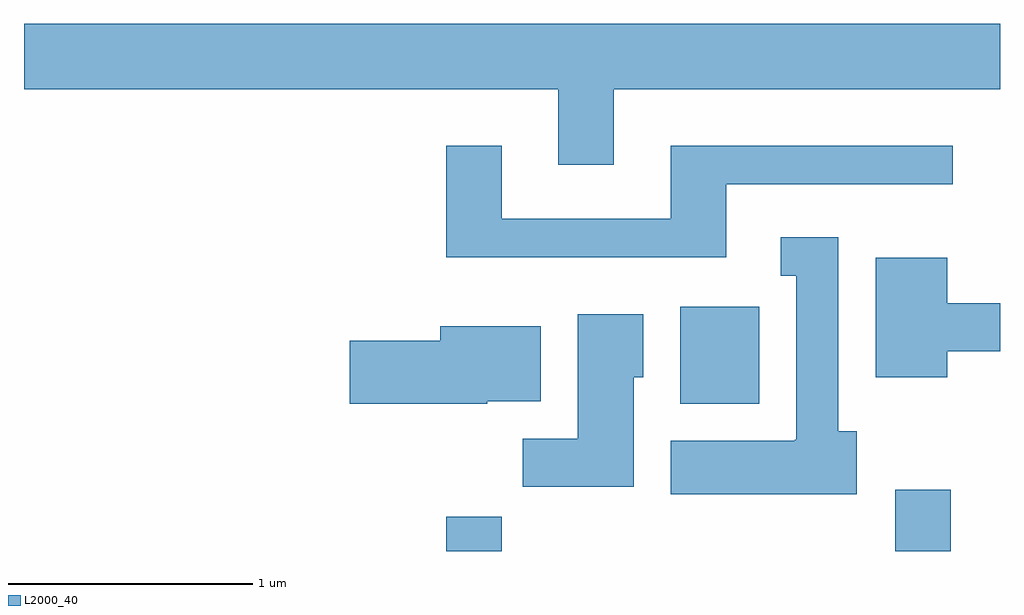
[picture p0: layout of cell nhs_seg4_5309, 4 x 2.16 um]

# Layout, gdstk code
import gdstk
lib = gdstk.Library(unit=1e-6, precision=1e-09)
def R(c, l, rs):  # rectangles x0, y0, x1, y1
    for r in rs: c.add(gdstk.rectangle(r[:2], r[2:], *l))
def P(c, l, *ps):  # polygons
    for p in ps: c.add(gdstk.Polygon(p, *l))
L2000_40 = (2000, 40)

nhs_seg4_5309 = lib.new_cell('nhs_seg4_5309')
R(nhs_seg4_5309, L2000_40, [(343.341,1263.982,343.569,1264.124), (345.181,1263.982,345.409,1264.234), (344.301,1264.586,344.624,1264.984)])
P(nhs_seg4_5309, L2000_40, [(344.029,1265.876),(345.611,1265.876),(345.611,1266.144),(341.611,1266.144),(341.611,1265.876),(343.801,1265.876),(343.801,1265.566),(344.029,1265.566)],
  [(344.489,1265.486),(345.418,1265.486),(345.418,1265.644),(344.261,1265.644),(344.261,1265.344),(343.569,1265.344),(343.569,1265.644),(343.341,1265.644),(343.341,1265.186),(344.489,1265.186)],
  [(345.024,1264.474),(344.949,1264.474),(344.949,1265.269),(344.713,1265.269),(344.713,1265.111),(344.776,1265.111),(344.776,1264.44),(344.77,1264.44),(344.77,1264.434),(344.261,1264.434),(344.261,1264.216),(345.024,1264.216)],
  [(345.394,1264.801),(345.611,1264.801),(345.611,1264.999),(345.394,1264.999),(345.394,1265.184),(345.101,1265.184),(345.101,1264.696),(345.394,1264.696)],
  [(344.109,1264.696),(344.149,1264.696),(344.149,1264.954),(343.881,1264.954),(343.881,1264.444),(343.656,1264.444),(343.656,1264.246),(344.109,1264.246)],
  [(343.51,1264.596),(343.729,1264.596),(343.729,1264.904),(343.316,1264.904),(343.316,1264.844),(342.946,1264.844),(342.946,1264.586),(343.51,1264.586)])

lib.write_gds('nhs_seg4_5309.gds')
